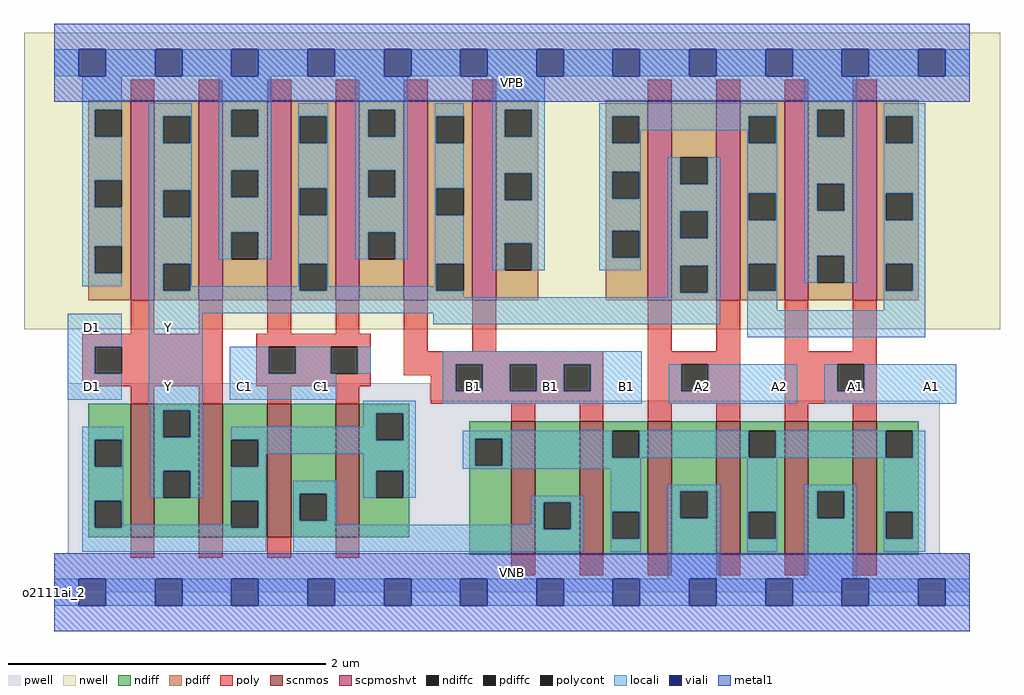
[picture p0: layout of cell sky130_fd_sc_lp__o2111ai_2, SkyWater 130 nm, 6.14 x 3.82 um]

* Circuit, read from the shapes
.subckt sky130_fd_sc_lp__o2111ai_2 A1 A2 B1 C1 D1 VGND VNB VPB VPWR Y
XM1 Y D1 n1 VNB sky130_fd_pr__nfet_01v8 w=0.84 l=0.15 m=2
XM2 n2 C1 n1 VNB sky130_fd_pr__nfet_01v8 w=0.84 l=0.15 m=2
XM3 n2 B1 n3 VNB sky130_fd_pr__nfet_01v8 w=0.84 l=0.15 m=2
XM4 VGND A2 n3 VNB sky130_fd_pr__nfet_01v8 w=0.84 l=0.15 m=2
XM5 VGND A1 n3 VNB sky130_fd_pr__nfet_01v8 w=0.84 l=0.15 m=2
XM6 Y D1 VPWR VPB sky130_fd_pr__pfet_01v8_hvt w=1.26 l=0.15 m=2
XM7 Y C1 VPWR VPB sky130_fd_pr__pfet_01v8_hvt w=1.26 l=0.15 m=2
XM8 Y B1 VPWR VPB sky130_fd_pr__pfet_01v8_hvt w=1.26 l=0.15 m=2
XM9 Y A2 n4 VPB sky130_fd_pr__pfet_01v8_hvt w=1.26 l=0.15 m=2
XM10 VPWR A1 n4 VPB sky130_fd_pr__pfet_01v8_hvt w=1.26 l=0.15 m=2
.ends

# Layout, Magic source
magic
tech sky130A
magscale 1 2
<< nwell >>
rect -38 331 1190 704
<< pwell >>
rect 17 241 473 263
rect 17 49 1114 241
rect 0 0 1152 49
<< scnmos >>
rect 96 69 126 237
rect 182 69 212 237
rect 268 69 298 237
rect 354 69 384 237
rect 575 47 605 215
rect 661 47 691 215
rect 747 47 777 215
rect 833 47 863 215
rect 919 47 949 215
rect 1005 47 1035 215
<< scpmoshvt >>
rect 96 367 126 619
rect 182 367 212 619
rect 268 367 298 619
rect 354 367 384 619
rect 440 367 470 619
rect 526 367 556 619
rect 747 367 777 619
rect 833 367 863 619
rect 919 367 949 619
rect 1005 367 1035 619
<< ndiff >>
rect 43 192 96 237
rect 43 158 51 192
rect 85 158 96 192
rect 43 115 96 158
rect 43 81 51 115
rect 85 81 96 115
rect 43 69 96 81
rect 126 229 182 237
rect 126 195 137 229
rect 171 195 182 229
rect 126 153 182 195
rect 126 119 137 153
rect 171 119 182 153
rect 126 69 182 119
rect 212 192 268 237
rect 212 158 223 192
rect 257 158 268 192
rect 212 115 268 158
rect 212 81 223 115
rect 257 81 268 115
rect 212 69 268 81
rect 298 124 354 237
rect 298 90 309 124
rect 343 90 354 124
rect 298 69 354 90
rect 384 225 447 237
rect 384 191 405 225
rect 439 191 447 225
rect 384 153 447 191
rect 384 119 405 153
rect 439 119 447 153
rect 384 69 447 119
rect 522 193 575 215
rect 522 159 530 193
rect 564 159 575 193
rect 522 47 575 159
rect 605 113 661 215
rect 605 79 616 113
rect 650 79 661 113
rect 605 47 661 79
rect 691 203 747 215
rect 691 169 702 203
rect 736 169 747 203
rect 691 101 747 169
rect 691 67 702 101
rect 736 67 747 101
rect 691 47 747 67
rect 777 127 833 215
rect 777 93 788 127
rect 822 93 833 127
rect 777 47 833 93
rect 863 203 919 215
rect 863 169 874 203
rect 908 169 919 203
rect 863 101 919 169
rect 863 67 874 101
rect 908 67 919 101
rect 863 47 919 67
rect 949 127 1005 215
rect 949 93 960 127
rect 994 93 1005 127
rect 949 47 1005 93
rect 1035 203 1088 215
rect 1035 169 1046 203
rect 1080 169 1088 203
rect 1035 101 1088 169
rect 1035 67 1046 101
rect 1080 67 1088 101
rect 1035 47 1088 67
<< pdiff >>
rect 43 607 96 619
rect 43 573 51 607
rect 85 573 96 607
rect 43 518 96 573
rect 43 484 51 518
rect 85 484 96 518
rect 43 435 96 484
rect 43 401 51 435
rect 85 401 96 435
rect 43 367 96 401
rect 126 599 182 619
rect 126 565 137 599
rect 171 565 182 599
rect 126 506 182 565
rect 126 472 137 506
rect 171 472 182 506
rect 126 413 182 472
rect 126 379 137 413
rect 171 379 182 413
rect 126 367 182 379
rect 212 607 268 619
rect 212 573 223 607
rect 257 573 268 607
rect 212 531 268 573
rect 212 497 223 531
rect 257 497 268 531
rect 212 453 268 497
rect 212 419 223 453
rect 257 419 268 453
rect 212 367 268 419
rect 298 599 354 619
rect 298 565 309 599
rect 343 565 354 599
rect 298 508 354 565
rect 298 474 309 508
rect 343 474 354 508
rect 298 413 354 474
rect 298 379 309 413
rect 343 379 354 413
rect 298 367 354 379
rect 384 607 440 619
rect 384 573 395 607
rect 429 573 440 607
rect 384 531 440 573
rect 384 497 395 531
rect 429 497 440 531
rect 384 453 440 497
rect 384 419 395 453
rect 429 419 440 453
rect 384 367 440 419
rect 470 599 526 619
rect 470 565 481 599
rect 515 565 526 599
rect 470 508 526 565
rect 470 474 481 508
rect 515 474 526 508
rect 470 413 526 474
rect 470 379 481 413
rect 515 379 526 413
rect 470 367 526 379
rect 556 607 609 619
rect 556 573 567 607
rect 601 573 609 607
rect 556 527 609 573
rect 556 493 567 527
rect 601 493 609 527
rect 556 439 609 493
rect 556 405 567 439
rect 601 405 609 439
rect 556 367 609 405
rect 694 599 747 619
rect 694 565 702 599
rect 736 565 747 599
rect 694 529 747 565
rect 694 495 702 529
rect 736 495 747 529
rect 694 455 747 495
rect 694 421 702 455
rect 736 421 747 455
rect 694 367 747 421
rect 777 547 833 619
rect 777 513 788 547
rect 822 513 833 547
rect 777 479 833 513
rect 777 445 788 479
rect 822 445 833 479
rect 777 411 833 445
rect 777 377 788 411
rect 822 377 833 411
rect 777 367 833 377
rect 863 599 919 619
rect 863 565 874 599
rect 908 565 919 599
rect 863 502 919 565
rect 863 468 874 502
rect 908 468 919 502
rect 863 413 919 468
rect 863 379 874 413
rect 908 379 919 413
rect 863 367 919 379
rect 949 607 1005 619
rect 949 573 960 607
rect 994 573 1005 607
rect 949 514 1005 573
rect 949 480 960 514
rect 994 480 1005 514
rect 949 423 1005 480
rect 949 389 960 423
rect 994 389 1005 423
rect 949 367 1005 389
rect 1035 599 1088 619
rect 1035 565 1046 599
rect 1080 565 1088 599
rect 1035 502 1088 565
rect 1035 468 1046 502
rect 1080 468 1088 502
rect 1035 413 1088 468
rect 1035 379 1046 413
rect 1080 379 1088 413
rect 1035 367 1088 379
<< ndiffc >>
rect 51 158 85 192
rect 51 81 85 115
rect 137 195 171 229
rect 137 119 171 153
rect 223 158 257 192
rect 223 81 257 115
rect 309 90 343 124
rect 405 191 439 225
rect 405 119 439 153
rect 530 159 564 193
rect 616 79 650 113
rect 702 169 736 203
rect 702 67 736 101
rect 788 93 822 127
rect 874 169 908 203
rect 874 67 908 101
rect 960 93 994 127
rect 1046 169 1080 203
rect 1046 67 1080 101
<< pdiffc >>
rect 51 573 85 607
rect 51 484 85 518
rect 51 401 85 435
rect 137 565 171 599
rect 137 472 171 506
rect 137 379 171 413
rect 223 573 257 607
rect 223 497 257 531
rect 223 419 257 453
rect 309 565 343 599
rect 309 474 343 508
rect 309 379 343 413
rect 395 573 429 607
rect 395 497 429 531
rect 395 419 429 453
rect 481 565 515 599
rect 481 474 515 508
rect 481 379 515 413
rect 567 573 601 607
rect 567 493 601 527
rect 567 405 601 439
rect 702 565 736 599
rect 702 495 736 529
rect 702 421 736 455
rect 788 513 822 547
rect 788 445 822 479
rect 788 377 822 411
rect 874 565 908 599
rect 874 468 908 502
rect 874 379 908 413
rect 960 573 994 607
rect 960 480 994 514
rect 960 389 994 423
rect 1046 565 1080 599
rect 1046 468 1080 502
rect 1046 379 1080 413
<< poly >>
rect 96 619 126 645
rect 182 619 212 645
rect 268 619 298 645
rect 354 619 384 645
rect 440 619 470 645
rect 526 619 556 645
rect 747 619 777 645
rect 833 619 863 645
rect 919 619 949 645
rect 1005 619 1035 645
rect 96 325 126 367
rect 182 325 212 367
rect 268 325 298 367
rect 354 325 384 367
rect 35 309 212 325
rect 35 275 51 309
rect 85 275 212 309
rect 35 259 212 275
rect 254 309 398 325
rect 254 275 270 309
rect 304 275 348 309
rect 382 275 398 309
rect 254 259 398 275
rect 440 303 470 367
rect 526 303 556 367
rect 747 303 777 367
rect 833 303 863 367
rect 440 287 691 303
rect 440 273 505 287
rect 96 237 126 259
rect 182 237 212 259
rect 268 237 298 259
rect 354 237 384 259
rect 474 253 505 273
rect 539 253 573 287
rect 607 253 641 287
rect 675 253 691 287
rect 474 237 691 253
rect 575 215 605 237
rect 661 215 691 237
rect 747 287 863 303
rect 747 253 789 287
rect 823 253 863 287
rect 747 237 863 253
rect 747 215 777 237
rect 833 215 863 237
rect 919 303 949 367
rect 1005 303 1035 367
rect 919 287 1035 303
rect 919 253 985 287
rect 1019 253 1035 287
rect 919 237 1035 253
rect 919 215 949 237
rect 1005 215 1035 237
rect 96 43 126 69
rect 182 43 212 69
rect 268 43 298 69
rect 354 43 384 69
rect 575 21 605 47
rect 661 21 691 47
rect 747 21 777 47
rect 833 21 863 47
rect 919 21 949 47
rect 1005 21 1035 47
<< polycont >>
rect 51 275 85 309
rect 270 275 304 309
rect 348 275 382 309
rect 505 253 539 287
rect 573 253 607 287
rect 641 253 675 287
rect 789 253 823 287
rect 985 253 1019 287
<< locali >>
rect 0 649 31 683
rect 65 649 127 683
rect 161 649 223 683
rect 257 649 319 683
rect 353 649 415 683
rect 449 649 511 683
rect 545 649 607 683
rect 641 649 703 683
rect 737 649 799 683
rect 833 649 895 683
rect 929 649 991 683
rect 1025 649 1087 683
rect 1121 649 1152 683
rect 35 607 85 649
rect 35 573 51 607
rect 35 518 85 573
rect 35 484 51 518
rect 35 435 85 484
rect 35 401 51 435
rect 35 385 85 401
rect 119 599 173 615
rect 119 565 137 599
rect 171 565 173 599
rect 119 506 173 565
rect 119 472 137 506
rect 171 472 173 506
rect 119 413 173 472
rect 207 607 273 649
rect 207 573 223 607
rect 257 573 273 607
rect 207 531 273 573
rect 207 497 223 531
rect 257 497 273 531
rect 207 453 273 497
rect 207 419 223 453
rect 257 419 273 453
rect 307 599 345 615
rect 307 565 309 599
rect 343 565 345 599
rect 307 508 345 565
rect 307 474 309 508
rect 343 474 345 508
rect 119 379 137 413
rect 171 385 173 413
rect 307 413 345 474
rect 379 607 445 649
rect 379 573 395 607
rect 429 573 445 607
rect 379 531 445 573
rect 379 497 395 531
rect 429 497 445 531
rect 379 453 445 497
rect 379 419 395 453
rect 429 419 445 453
rect 479 599 515 615
rect 479 565 481 599
rect 479 508 515 565
rect 479 474 481 508
rect 307 385 309 413
rect 171 379 309 385
rect 343 385 345 413
rect 479 413 515 474
rect 479 385 481 413
rect 343 379 481 385
rect 551 607 617 649
rect 551 573 567 607
rect 601 573 617 607
rect 551 527 617 573
rect 551 493 567 527
rect 601 493 617 527
rect 551 439 617 493
rect 551 405 567 439
rect 601 405 617 439
rect 686 599 910 615
rect 686 565 702 599
rect 736 581 874 599
rect 736 565 738 581
rect 686 529 738 565
rect 872 565 874 581
rect 908 565 910 599
rect 686 495 702 529
rect 736 495 738 529
rect 686 455 738 495
rect 686 421 702 455
rect 736 421 738 455
rect 686 405 738 421
rect 772 513 788 547
rect 822 513 838 547
rect 772 479 838 513
rect 772 445 788 479
rect 822 445 838 479
rect 772 411 838 445
rect 119 371 515 379
rect 772 377 788 411
rect 822 377 838 411
rect 772 371 838 377
rect 119 351 838 371
rect 17 309 85 350
rect 17 275 51 309
rect 17 242 85 275
rect 119 233 187 351
rect 477 337 838 351
rect 872 502 910 565
rect 872 468 874 502
rect 908 468 910 502
rect 872 413 910 468
rect 872 379 874 413
rect 908 379 910 413
rect 944 607 1010 649
rect 944 573 960 607
rect 994 573 1010 607
rect 944 514 1010 573
rect 944 480 960 514
rect 994 480 1010 514
rect 944 423 1010 480
rect 944 389 960 423
rect 994 389 1010 423
rect 1044 599 1096 615
rect 1044 565 1046 599
rect 1080 565 1096 599
rect 1044 502 1096 565
rect 1044 468 1046 502
rect 1080 468 1096 502
rect 1044 413 1096 468
rect 872 355 910 379
rect 1044 379 1046 413
rect 1080 379 1096 413
rect 1044 355 1096 379
rect 872 321 1096 355
rect 221 275 270 309
rect 304 275 348 309
rect 382 275 398 309
rect 489 287 739 303
rect 221 242 355 275
rect 489 253 505 287
rect 539 253 573 287
rect 607 253 641 287
rect 675 253 739 287
rect 121 229 187 233
rect 35 192 87 208
rect 35 158 51 192
rect 85 158 87 192
rect 35 115 87 158
rect 121 195 137 229
rect 171 195 187 229
rect 389 225 455 241
rect 489 237 739 253
rect 773 253 789 287
rect 823 253 935 287
rect 773 237 935 253
rect 969 253 985 287
rect 1019 253 1135 287
rect 969 237 1135 253
rect 389 208 405 225
rect 121 153 187 195
rect 121 119 137 153
rect 171 119 187 153
rect 223 192 405 208
rect 257 191 405 192
rect 439 191 455 225
rect 257 174 455 191
rect 257 158 267 174
rect 35 81 51 115
rect 85 85 87 115
rect 223 115 267 158
rect 389 153 455 174
rect 514 193 702 203
rect 514 159 530 193
rect 564 169 702 193
rect 736 169 874 203
rect 908 169 1046 203
rect 1080 169 1096 203
rect 564 159 738 169
rect 514 155 738 159
rect 85 81 223 85
rect 257 81 267 115
rect 35 51 267 81
rect 301 124 355 140
rect 301 90 309 124
rect 343 90 355 124
rect 389 119 405 153
rect 439 119 455 153
rect 301 85 355 90
rect 600 113 666 121
rect 600 85 616 113
rect 301 79 616 85
rect 650 79 666 113
rect 301 51 666 79
rect 700 101 738 155
rect 700 67 702 101
rect 736 67 738 101
rect 700 51 738 67
rect 772 127 838 135
rect 772 93 788 127
rect 822 93 838 127
rect 772 17 838 93
rect 872 101 910 169
rect 872 67 874 101
rect 908 67 910 101
rect 872 51 910 67
rect 944 127 1010 135
rect 944 93 960 127
rect 994 93 1010 127
rect 944 17 1010 93
rect 1044 101 1096 169
rect 1044 67 1046 101
rect 1080 67 1096 101
rect 1044 51 1096 67
rect 0 -17 31 17
rect 65 -17 127 17
rect 161 -17 223 17
rect 257 -17 319 17
rect 353 -17 415 17
rect 449 -17 511 17
rect 545 -17 607 17
rect 641 -17 703 17
rect 737 -17 799 17
rect 833 -17 895 17
rect 929 -17 991 17
rect 1025 -17 1087 17
rect 1121 -17 1152 17
<< viali >>
rect 31 649 65 683
rect 127 649 161 683
rect 223 649 257 683
rect 319 649 353 683
rect 415 649 449 683
rect 511 649 545 683
rect 607 649 641 683
rect 703 649 737 683
rect 799 649 833 683
rect 895 649 929 683
rect 991 649 1025 683
rect 1087 649 1121 683
rect 31 -17 65 17
rect 127 -17 161 17
rect 223 -17 257 17
rect 319 -17 353 17
rect 415 -17 449 17
rect 511 -17 545 17
rect 607 -17 641 17
rect 703 -17 737 17
rect 799 -17 833 17
rect 895 -17 929 17
rect 991 -17 1025 17
rect 1087 -17 1121 17
<< metal1 >>
rect 0 683 1152 715
rect 0 649 31 683
rect 65 649 127 683
rect 161 649 223 683
rect 257 649 319 683
rect 353 649 415 683
rect 449 649 511 683
rect 545 649 607 683
rect 641 649 703 683
rect 737 649 799 683
rect 833 649 895 683
rect 929 649 991 683
rect 1025 649 1087 683
rect 1121 649 1152 683
rect 0 617 1152 649
rect 0 17 1152 49
rect 0 -17 31 17
rect 65 -17 127 17
rect 161 -17 223 17
rect 257 -17 319 17
rect 353 -17 415 17
rect 449 -17 511 17
rect 545 -17 607 17
rect 641 -17 703 17
rect 737 -17 799 17
rect 833 -17 895 17
rect 929 -17 991 17
rect 1025 -17 1087 17
rect 1121 -17 1152 17
rect 0 -49 1152 -17
<< labels >>
flabel pwell s 0 0 1152 49 0 FreeSans 200 0 0 0 VNB
port 7 nsew ground bidirectional
flabel nwell s 0 617 1152 666 0 FreeSans 200 0 0 0 VPB
port 8 nsew power bidirectional
rlabel comment s 0 0 0 0 4 o2111ai_2
flabel metal1 s 0 617 1152 666 0 FreeSans 340 0 0 0 VPWR
port 9 nsew power bidirectional
flabel metal1 s 0 0 1152 49 0 FreeSans 340 0 0 0 VGND
port 6 nsew ground bidirectional
flabel locali s 127 242 161 276 0 FreeSans 340 0 0 0 Y
port 10 nsew signal output
flabel locali s 127 316 161 350 0 FreeSans 340 0 0 0 Y
port 10 nsew signal output
flabel locali s 991 242 1025 276 0 FreeSans 340 0 0 0 A1
port 1 nsew signal input
flabel locali s 1087 242 1121 276 0 FreeSans 340 0 0 0 A1
port 1 nsew signal input
flabel locali s 799 242 833 276 0 FreeSans 340 0 0 0 A2
port 2 nsew signal input
flabel locali s 895 242 929 276 0 FreeSans 340 0 0 0 A2
port 2 nsew signal input
flabel locali s 511 242 545 276 0 FreeSans 340 0 0 0 B1
port 3 nsew signal input
flabel locali s 607 242 641 276 0 FreeSans 340 0 0 0 B1
port 3 nsew signal input
flabel locali s 703 242 737 276 0 FreeSans 340 0 0 0 B1
port 3 nsew signal input
flabel locali s 223 242 257 276 0 FreeSans 340 0 0 0 C1
port 4 nsew signal input
flabel locali s 319 242 353 276 0 FreeSans 340 0 0 0 C1
port 4 nsew signal input
flabel locali s 31 242 65 276 0 FreeSans 340 0 0 0 D1
port 5 nsew signal input
flabel locali s 31 316 65 350 0 FreeSans 340 0 0 0 D1
port 5 nsew signal input
<< properties >>
string LEFsite unit
string LEFclass CORE
string FIXED_BBOX 0 0 1152 666
string GDS_FILE $PDKPATH/libs.ref/sky130_fd_sc_lp/gds/sky130_fd_sc_lp.gds
string LEFsymmetry X Y R90
string GDS_END 4758838
string GDS_START 4747920
<< end >>
